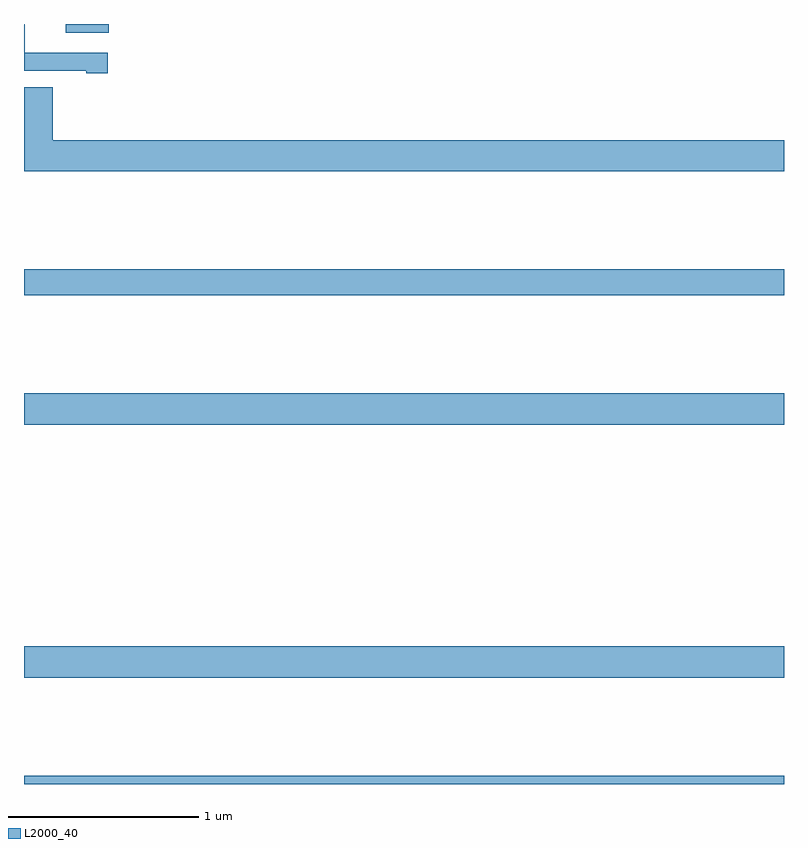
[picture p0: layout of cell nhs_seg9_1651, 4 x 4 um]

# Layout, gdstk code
import gdstk
lib = gdstk.Library(unit=1e-6, precision=1e-09)
def R(c, l, rs):  # rectangles x0, y0, x1, y1
    for r in rs: c.add(gdstk.rectangle(r[:2], r[2:], *l))
def P(c, l, *ps):  # polygons
    for p in ps: c.add(gdstk.Polygon(p, *l))
L2000_40 = (2000, 40)

nhs_seg9_1651 = lib.new_cell('nhs_seg9_1651')
R(nhs_seg9_1651, L2000_40, [(203,1222.5,207,1222.544), (203,1223.06,207,1223.224), (203,1224.392,207,1224.556), (203,1225.072,207,1225.208), (203.219,1226.453,203.446,1226.5)])
P(nhs_seg9_1651, L2000_40, [(203.44,1226.349),(203.006,1226.349),(203.006,1226.35),(203.004,1226.35),(203.004,1226.5),(203,1226.5),(203,1226.253),(203.327,1226.253),(203.327,1226.241),(203.44,1226.241)],
  [(207,1225.888),(203.15,1225.888),(203.15,1226.168),(203,1226.168),(203,1225.724),(207,1225.724)])

lib.write_gds('nhs_seg9_1651.gds')
